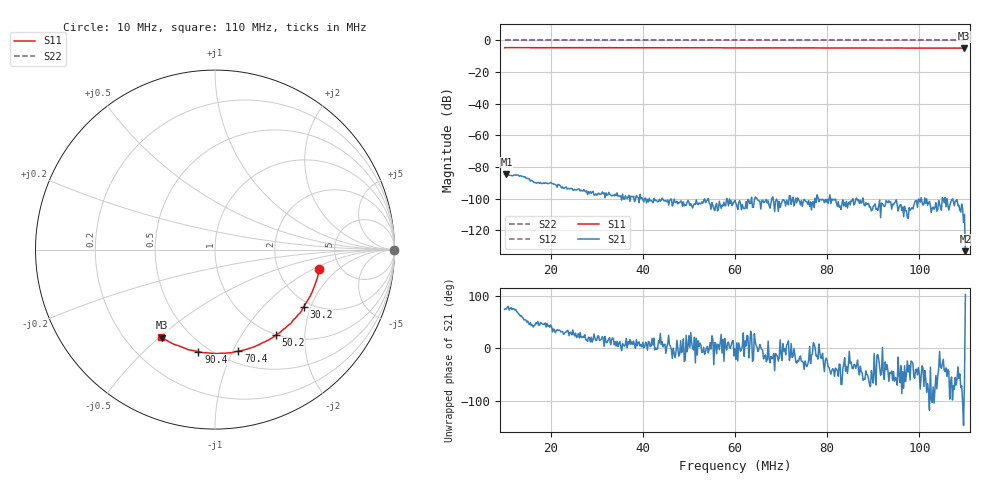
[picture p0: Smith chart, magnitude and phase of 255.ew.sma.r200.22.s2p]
! Anritsu VNA Master:  Model: MS2036C/10/77
! SN:  1601066
! /card0/usr/255.ew.sma.r200.22.s2p
! Existing Calibration Information:
! TYPE:  Current Settings,  Active Cal Settings
! TIME:  12/19/2017 06:25:51 PM,  12/19/2017 06:04:41 PM
! INTERNAL TEMP:  42.0 C,  39.8 C
! # POINTS:  501,  501
! START FREQ:  10.000 MHz,  10.000 MHz
! STOP FREQ:  110.000 MHz,  110.000 MHz
! SOURCE POWER:  High,  High
! IFBW:  100 Hz,  100 Hz
! AVG FACTOR:  1 ,  1
! REF PLANE 1:  0 mm,  0 mm
! REF PLANE 2:  0 mm,  0 mm
! CAL TYPE:  Full S11,  Full S11
! CAL METHOD:  SOLT,  SOLT
! CAL LINE TYPE:  Coax,  Coax
! DUT PORT 1:  N-Conn(F),  N-Conn(F)
! DUT PORT 2:  K-Conn(F),  K-Conn(F)
! CAL STATUS:  OK: Accuracy High,  --
# GHZ S DB R 50.0
! FREQ.GHZ  S11DB  S11A  S21DB  S21A  S12DB  S12A  S22DB  S22A
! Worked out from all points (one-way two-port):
!   501 points, 10 MHz to 110 MHz, reference 50 ohm
!   highest |S21| = -84.42 dB at 10.4 MHz (marker M1); lowest = -133.2 dB at 110 MHz (marker M2)
!   lowest |S11| = -4.9 dB at 109.6 MHz (marker M3), VSWR 3.67, Z = 17.5 - j25.5 ohm
!   |S11| at or under -10 dB: nowhere
!   |S22| runs from 0.0 to 0.0 dB; largest |S21 - S12| = 1
!   S11 on the Smith chart (normalised r, x): 10 MHz: 3.46, -1.17; 30.2 MHz: 1.83, -1.78; 50.2 MHz: 0.99, -1.43; 70.4 MHz: 0.62, -1.05; 90.4 MHz: 0.44, -0.75; 110 MHz: 0.35, -0.51
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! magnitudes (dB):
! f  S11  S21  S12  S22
! 10 MHz  -4.6  -84.5  0.0  0.0
! 10.4 MHz  -4.6  -84.4  0.0  0.0
! 26.8 MHz  -4.6  -95.0  0.0  0.0
! 30.2 MHz  -4.6  -97.1  0.0  0.0
! 33 MHz  -4.6  -97.5  0.0  0.0
! 38.4 MHz  -4.6  -100.2  0.0  0.0
! 40.6 MHz  -4.6  -99.7  0.0  0.0
! 43.4 MHz  -4.6  -101.8  0.0  0.0
! 50.2 MHz  -4.7  -104.3  0.0  0.0
! 60 MHz  -4.7  -101.0  0.0  0.0
! 70.4 MHz  -4.7  -100.6  0.0  0.0
! 76.8 MHz  -4.7  -102.3  0.0  0.0
! 78.8 MHz  -4.8  -100.9  0.0  0.0
! 81 MHz  -4.7  -100.2  0.0  0.0
! 88.4 MHz  -4.8  -102.6  0.0  0.0
! 90.4 MHz  -4.8  -103.3  0.0  0.0
! 93.4 MHz  -4.8  -101.3  0.0  0.0
! 95.4 MHz  -4.8  -107.8  0.0  0.0
! 98.8 MHz  -4.8  -104.1  0.0  0.0
! 103.2 MHz  -4.8  -106.7  0.0  0.0
! 109.6 MHz  -4.9  -114.9  0.0  0.0
! 110 MHz  -4.8  -133.2  0.0  0.0
